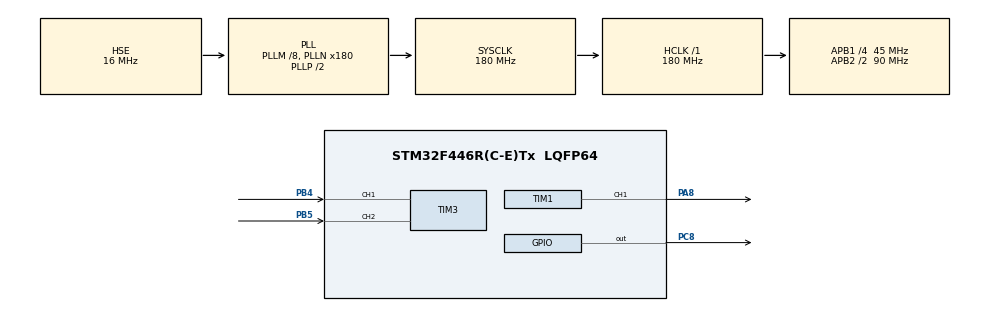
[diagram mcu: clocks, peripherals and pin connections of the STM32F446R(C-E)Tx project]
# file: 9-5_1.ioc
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Mcu.Family=STM32F4
Mcu.Name=STM32F446R(C-E)Tx
Mcu.Package=LQFP64
NVIC.PriorityGroup=NVIC_PRIORITYGROUP_4
NVIC.TIM1_BRK_TIM9_IRQn=true\:0\:0\:false\:false\:true\:true\:true\:true
NVIC.TIM1_CC_IRQn=true\:0\:0\:false\:false\:true\:true\:true\:true
NVIC.TIM1_TRG_COM_TIM11_IRQn=true\:0\:0\:false\:false\:true\:true\:true\:true
NVIC.TIM1_UP_TIM10_IRQn=true\:0\:0\:false\:false\:true\:true\:true\:true
NVIC.TIM6_DAC_IRQn=true\:0\:0\:false\:false\:true\:true\:true\:true
PA13.Mode=Serial_Wire
PA13.Signal=SYS_JTMS-SWDIO
PA14.Mode=Serial_Wire
PA14.Signal=SYS_JTCK-SWCLK
PA8.Signal=S_TIM1_CH1
PB4.GPIO_PuPd=GPIO_PULLUP
PB4.Signal=S_TIM3_CH1
PB5.GPIO_PuPd=GPIO_PULLUP
PB5.Signal=S_TIM3_CH2
PC8.Signal=GPIO_Output
PH0-OSC_IN.Mode=HSE-External-Oscillator
PH0-OSC_IN.Signal=RCC_OSC_IN
PH1-OSC_OUT.Mode=HSE-External-Oscillator
PH1-OSC_OUT.Signal=RCC_OSC_OUT
ProjectManager.HeapSize=0x200
ProjectManager.StackSize=0x400
ProjectManager.TargetToolchain=STM32CubeIDE
RCC.AHBFreq_Value=180000000
RCC.APB1CLKDivider=RCC_HCLK_DIV4
RCC.APB1Freq_Value=45000000
RCC.APB1TimFreq_Value=90000000
RCC.APB2CLKDivider=RCC_HCLK_DIV2
RCC.APB2Freq_Value=90000000
RCC.APB2TimFreq_Value=180000000
RCC.CortexFreq_Value=180000000
RCC.HCLKFreq_Value=180000000
RCC.HSE_VALUE=16000000
RCC.PLLM=8
RCC.PLLN=180
RCC.PLLSourceVirtual=RCC_PLLSOURCE_HSE
RCC.SYSCLKFreq_VALUE=180000000
RCC.SYSCLKSource=RCC_SYSCLKSOURCE_PLLCLK
RCC.USBFreq_Value=180000000
RCC.VCOOutputFreq_Value=360000000
SH.S_TIM1_CH1.0=TIM1_CH1,PWM Generation1 CH1
SH.S_TIM3_CH1.0=TIM3_CH1,Encoder_Interface
SH.S_TIM3_CH2.0=TIM3_CH2,Encoder_Interface
TIM1.Channel-PWM\ Generation1\ CH1=TIM_CHANNEL_1
TIM1.Period=1000-1
TIM1.Prescaler=9-1
TIM3.EncoderMode=TIM_ENCODERMODE_TI12
TIM3.IC1Filter=5
TIM3.IC2Filter=5
TIM6.Period=1000-1
TIM6.Prescaler=900-1
VP_TIM6_VS_ClockSourceINT.Mode=Enable_Timer
board=custom

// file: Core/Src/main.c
/* USER CODE BEGIN Header */
/**
  ******************************************************************************
  * @file           : main.c
  * @brief          : Main program body
  ******************************************************************************
  * @attention
  *
  * Copyright (c) 2024 STMicroelectronics.
  * All rights reserved.
  *
  * This software is licensed under terms that can be found in the LICENSE file
  * in the root directory of this software component.
  * If no LICENSE file comes with this software, it is provided AS-IS.
  *
  ******************************************************************************
  */
/* USER CODE END Header */
#include "main.h"
#include "tim.h"
#include "gpio.h"

/* USER CODE BEGIN Includes */
int targetspeed=0;
int speed=0;
int currentspeed;
int encoder_value;
int count=0;
int encoder_arr[2];
int targetrpm;
int currentrpm;
/* USER CODE END Includes */

void SystemClock_Config(void);

int main(void)
{

  /* MCU Configuration--------------------------------------------------------*/

  /* Reset of all peripherals, Initializes the Flash interface and the Systick. */
  HAL_Init();

  /* Configure the system clock */
  SystemClock_Config();

  /* Initialize all configured peripherals */
  MX_GPIO_Init();
  MX_TIM1_Init();
  MX_TIM3_Init();
  MX_TIM6_Init();
  /* USER CODE BEGIN 2 */
  HAL_TIM_PWM_Start(&htim1, TIM_CHANNEL_1);
  HAL_TIM_Encoder_Start(&htim3, TIM_CHANNEL_ALL);
  HAL_TIM_Base_Start_IT(&htim6);
  /* USER CODE END 2 */

  /* Infinite loop */
  while (1)
  {

    /* USER CODE BEGIN 3 */
	  encoder_value = TIM3->CNT;
	  targetrpm = targetspeed / 2;
	  currentrpm = currentspeed / 2;
	  if(speed<=targetspeed)
	  {
		  for(int i = speed; i<= targetspeed; i++)
		  {
			  speed++;
			  TIM1->CCR1 = speed;
		  }
	  }
	  else if(speed>targetspeed)
	  {
		  for(int i = speed; i>= targetspeed; i--)
		  {
		  		speed--;
		  		TIM1->CCR1 = speed;
		  }
	  }
	  currentspeed = (abs(encoder_arr[0] - encoder_arr[1])+3) * 10;
  }
  /* USER CODE END 3 */
}

void SystemClock_Config(void)
{
  RCC_OscInitTypeDef RCC_OscInitStruct = {0};
  RCC_ClkInitTypeDef RCC_ClkInitStruct = {0};

  /** Configure the main internal regulator output voltage
  */
  __HAL_RCC_PWR_CLK_ENABLE();
  __HAL_PWR_VOLTAGESCALING_CONFIG(PWR_REGULATOR_VOLTAGE_SCALE1);

  /** Initializes the RCC Oscillators according to the specified parameters
  * in the RCC_OscInitTypeDef structure.
  */
  RCC_OscInitStruct.OscillatorType = RCC_OSCILLATORTYPE_HSE;
  RCC_OscInitStruct.HSEState = RCC_HSE_ON;
  RCC_OscInitStruct.PLL.PLLState = RCC_PLL_ON;
  RCC_OscInitStruct.PLL.PLLSource = RCC_PLLSOURCE_HSE;
  RCC_OscInitStruct.PLL.PLLM = 8;
  RCC_OscInitStruct.PLL.PLLN = 180;
  RCC_OscInitStruct.PLL.PLLP = RCC_PLLP_DIV2;
  RCC_OscInitStruct.PLL.PLLQ = 2;
  RCC_OscInitStruct.PLL.PLLR = 2;
  if (HAL_RCC_OscConfig(&RCC_OscInitStruct) != HAL_OK)
  {
    Error_Handler();
  }

  /** Activate the Over-Drive mode
  */
  if (HAL_PWREx_EnableOverDrive() != HAL_OK)
  {
    Error_Handler();
  }

  /** Initializes the CPU, AHB and APB buses clocks
  */
  RCC_ClkInitStruct.ClockType = RCC_CLOCKTYPE_HCLK|RCC_CLOCKTYPE_SYSCLK
                              |RCC_CLOCKTYPE_PCLK1|RCC_CLOCKTYPE_PCLK2;
  RCC_ClkInitStruct.SYSCLKSource = RCC_SYSCLKSOURCE_PLLCLK;
  RCC_ClkInitStruct.AHBCLKDivider = RCC_SYSCLK_DIV1;
  RCC_ClkInitStruct.APB1CLKDivider = RCC_HCLK_DIV4;
  RCC_ClkInitStruct.APB2CLKDivider = RCC_HCLK_DIV2;

  if (HAL_RCC_ClockConfig(&RCC_ClkInitStruct, FLASH_LATENCY_5) != HAL_OK)
  {
    Error_Handler();
  }
}

/* USER CODE BEGIN 4 */
void HAL_TIM_PeriodElapsedCallback(TIM_HandleTypeDef *htim)
{
	if(htim->Instance == TIM6)
	{
		encoder_arr[count] = encoder_value;
		count++;
		count = count % 2;
	}
}
/* USER CODE END 4 */

void Error_Handler(void)
{
  __disable_irq();
  while (1)
  {
  }
}
